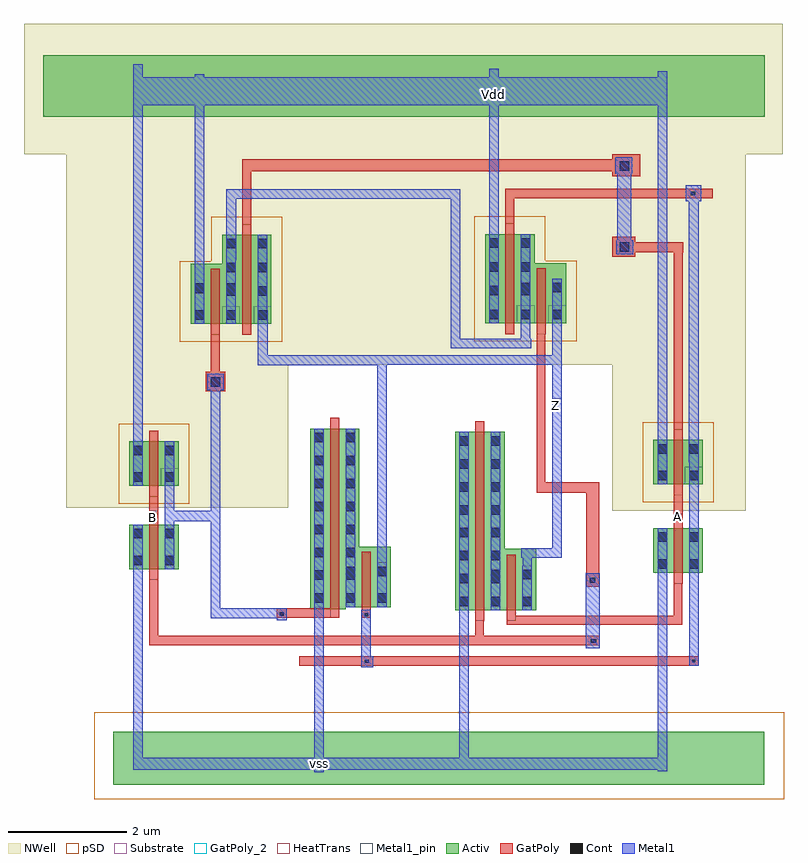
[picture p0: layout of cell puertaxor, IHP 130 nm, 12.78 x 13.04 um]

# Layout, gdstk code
import gdstk
lib = gdstk.Library(unit=1e-6, precision=5e-09)
def R(c, l, rs):  # rectangles x0, y0, x1, y1
    for r in rs: c.add(gdstk.rectangle(r[:2], r[2:], *l))
def A(c, l, x, y, w, h, nx, ny, dx, dy):  # array of equal rectangles
    R(c, l, [(x+i*dx, y+j*dy, x+i*dx+w, y+j*dy+h) for i in range(nx) for j in range(ny)])
Activ = (1, 0)
GatPoly = (5, 0)
GatPoly_2 = (5, 2)
Cont = (6, 0)
Metal1 = (8, 0)
Metal1_pin = (8, 2)
pSD = (14, 0)
NWell = (31, 0)
Substrate = (40, 0)
HeatTrans = (51, 0)

pmos_2 = lib.new_cell('pmos$2')
R(pmos_2, Activ, [(0,0,0.3,0.3), (0,0,0.83,0.75), (0.53,0,0.83,0.3)])
R(pmos_2, GatPoly, [(0.34,-0.18,0.49,0.93), (0.34,-0.18,0.49,0.93)])
R(pmos_2, Cont, [(0.07,0.07,0.23,0.23), (0.6,0.07,0.76,0.23), (0.07,0.52,0.23,0.68), (0.6,0.52,0.76,0.68)])
R(pmos_2, Metal1, [(0.07,0,0.23,0.75), (0.07,0,0.23,0.75), (0.6,0,0.76,0.75), (0.6,0,0.76,0.75)])
R(pmos_2, pSD, [(-0.18,-0.3,1.01,1.05)])
R(pmos_2, NWell, [(-0.31,-0.31,1.14,1.06)])
R(pmos_2, Substrate, [(0.53,0,0.83,0.3)])
R(pmos_2, HeatTrans, [(0.34,-0.18,0.49,0.93)])
pmos_2.add(gdstk.Label('pmos', (0.415,0.375), layer=63, texttype=0))
pmos_2.add(gdstk.Label('pmos', (0.415,0.375), layer=51, texttype=0))

pmos_1 = lib.new_cell('pmos$1')
R(pmos_1, Activ, [(0,0,0.3,0.3), (0,0,0.83,1.5), (0.53,0,0.83,0.3)])
R(pmos_1, GatPoly, [(0.34,-0.18,0.49,1.68), (0.34,-0.18,0.49,1.68)])
A(pmos_1, Cont, 0.07, 0.07, 0.16, 0.16, 1, 4, 0, 0.4)
A(pmos_1, Cont, 0.6, 0.07, 0.16, 0.16, 1, 4, 0, 0.4)
R(pmos_1, Metal1, [(0.07,0,0.23,1.5), (0.07,0,0.23,1.5), (0.6,0,0.76,1.5), (0.6,0,0.76,1.5)])
R(pmos_1, pSD, [(-0.18,-0.3,1.01,1.8)])
R(pmos_1, NWell, [(-0.31,-0.31,1.14,1.81)])
R(pmos_1, Substrate, [(0.53,0,0.83,0.3)])
R(pmos_1, HeatTrans, [(0.34,-0.18,0.49,1.68)])
pmos_1.add(gdstk.Label('pmos', (0.415,0.75), layer=63, texttype=0))
pmos_1.add(gdstk.Label('pmos', (0.415,0.75), layer=51, texttype=0))

nmos_2 = lib.new_cell('nmos$2')
R(nmos_2, Activ, [(0,0,0.3,0.3), (0,0,0.83,0.75), (0.53,0,0.83,0.3)])
R(nmos_2, GatPoly, [(0.34,-0.18,0.49,0.93)])
R(nmos_2, GatPoly_2, [(0.34,-0.18,0.49,0.93)])
R(nmos_2, Cont, [(0.07,0.07,0.23,0.23), (0.6,0.07,0.76,0.23), (0.07,0.52,0.23,0.68), (0.6,0.52,0.76,0.68)])
R(nmos_2, Metal1, [(0.07,0,0.23,0.75), (0.6,0,0.76,0.75)])
R(nmos_2, Metal1_pin, [(0.07,0,0.23,0.75), (0.6,0,0.76,0.75)])
R(nmos_2, HeatTrans, [(0.34,-0.18,0.49,0.93)])
nmos_2.add(gdstk.Label('nmos', (0.415,0.375), layer=63, texttype=0))
nmos_2.add(gdstk.Label('nmos', (0.415,0.375), layer=51, texttype=0))

nmos_1 = lib.new_cell('nmos$1')
R(nmos_1, Activ, [(0,0,0.3,0.3), (0,0,0.83,3), (0.53,0,0.83,0.3)])
R(nmos_1, GatPoly, [(0.34,-0.18,0.49,3.18)])
R(nmos_1, GatPoly_2, [(0.34,-0.18,0.49,3.18)])
A(nmos_1, Cont, 0.07, 0.07, 0.16, 0.16, 1, 7, 0, 0.385)
A(nmos_1, Cont, 0.6, 0.07, 0.16, 0.16, 1, 7, 0, 0.385)
R(nmos_1, Cont, [(0.07,2.77,0.23,2.93), (0.6,2.77,0.76,2.93)])
R(nmos_1, Metal1, [(0.07,0,0.23,3), (0.6,0,0.76,3)])
R(nmos_1, Metal1_pin, [(0.07,0,0.23,3), (0.6,0,0.76,3)])
R(nmos_1, HeatTrans, [(0.34,-0.18,0.49,3.18)])
nmos_1.add(gdstk.Label('nmos', (0.415,1.5), layer=63, texttype=0))
nmos_1.add(gdstk.Label('nmos', (0.415,1.5), layer=51, texttype=0))

puertaxor = lib.new_cell('puertaxor')
R(puertaxor, Activ, [(1.23,-3.525,12.175,-2.63), (4.54,-0.57,5.14,-0.535), (7.81,0.16,8.34,0.445), (5.37,0.215,5.9,0.48), (2.53,4.975,3.06,5.24), (8.315,4.985,8.845,5.245), (0.055,7.705,12.19,8.745)])
R(puertaxor, GatPoly, [(4.36,-1.52,11.075,-1.36), (1.84,-1.175,1.99,-0.035), (1.85,-1.175,8,-1.015), (7.32,-1.175,7.465,-0.52), (7.615,-1.175,9.415,-1.015), (7.85,-0.83,10.8,-0.68), (10.655,-0.77,10.8,-0.14), (3.98,-0.715,5.03,-0.56), (9.185,-0.195,9.405,1.56), (10.655,0.43,10.805,1.595), (1.84,0.6,1.99,1.425), (8.355,1.385,8.495,4.195), (8.355,1.385,9.4,1.56), (10.66,2.29,10.805,5.6), (2.785,3.09,3.11,3.42), (2.87,3.17,3.02,4.155), (9.625,5.355,10.005,5.695), (9.71,5.43,9.885,5.6), (9.84,5.43,10.82,5.6), (3.4,5.505,3.55,6.995), (7.825,5.555,7.975,6.5), (7.825,6.335,11.31,6.5), (9.625,6.71,10.09,7.08), (3.4,6.79,10,6.995), (9.845,6.79,10.09,6.995)])
R(puertaxor, GatPoly_2, [(1.84,0.91,1.99,1.08), (10.655,0.915,10.805,1.03)])
R(puertaxor, Cont, [(4.665,-3.21,4.725,-3.14), (5.46,-1.475,5.525,-1.425), (10.965,-1.465,11.02,-1.425), (9.26,-1.14,9.355,-1.075), (5.46,-0.69,5.515,-0.64), (4.03,-0.68,4.1,-0.62), (9.245,-0.13,9.34,-0.045), (2.87,3.165,3.03,3.325), (9.75,5.435,9.91,5.595), (10.945,6.385,11.02,6.445), (9.745,6.8,9.905,6.96), (7.555,7.995,7.715,8.155)])
R(puertaxor, Metal1, [(4.61,-3.31,4.77,-0.25), (10.385,-3.3,10.545,0.19), (1.57,-3.275,1.73,0.355), (1.57,-3.275,10.545,-3.07), (7.05,-3.235,7.21,-0.3), (5.405,-1.55,5.6,-1.52), (5.405,-1.52,5.565,-0.605), (5.565,-1.52,5.6,-1.36), (10.915,-1.52,11.075,0.105), (9.18,-1.23,9.415,-1.175), (9.18,-1.175,9.415,0.03), (3.98,-0.755,4.15,-0.715), (2.87,-0.72,3.03,1.07), (2.87,-0.72,4.15,-0.56), (5.405,-0.605,5.565,-0.58), (8.115,-0.06,8.27,0.45), (5.67,0,5.83,3.7), (8.09,0.29,8.775,0.45), (8.615,0.29,8.775,2.955), (2.1,0.555,2.26,1.735), (10.915,0.62,11.075,1.75), (2.1,0.905,3.03,1.08), (2.87,0.905,3.03,3.31), (1.57,1.875,1.73,8.595), (10.385,1.9,10.545,8.475), (10.91,1.9,11.075,6.5), (8.615,2.68,8.775,4.385), (2.815,3.11,3.09,3.385), (2.87,3.31,3.03,3.34), (3.66,3.53,3.825,4.455), (3.665,3.53,5.83,3.7), (5.665,3.535,8.775,3.7), (6.905,3.815,7.07,6.49), (6.905,3.815,8.26,3.975), (8.085,3.815,8.24,4.46), (2.6,4.6,2.76,8.425), (7.555,4.985,7.715,8.52), (3.13,5.295,3.3,6.49), (9.69,5.395,9.975,5.635), (9.71,5.43,9.94,6.995), (10.86,6.285,11.115,6.555), (3.13,6.33,7.025,6.49), (9.675,6.75,9.96,7.025), (1.585,7.905,10.545,8.37)])
R(puertaxor, Metal1_pin, [(4.665,-3.21,4.725,-3.14), (8.615,2.795,8.775,2.975), (7.595,8.04,7.68,8.125)])
R(puertaxor, pSD, [(0.91,-3.765,12.51,-2.305)])
R(puertaxor, NWell, [(9.625,1.08,11.87,8.605), (0.44,1.13,4.175,8.37), (3.395,3.535,9.975,8.745), (-0.27,7.08,12.49,9.27)])
puertaxor.add(gdstk.Reference(pmos_2, (8.015,4.235)))
puertaxor.add(gdstk.Reference(pmos_1, (7.485,4.235)))
puertaxor.add(gdstk.Reference(nmos_2, (5.07,-0.535)))
puertaxor.add(gdstk.Reference(nmos_1, (6.98,-0.59)))
puertaxor.add(gdstk.Reference(nmos_2, (7.51,-0.59)))
puertaxor.add(gdstk.Reference(nmos_1, (4.54,-0.535)))
puertaxor.add(gdstk.Reference(pmos_2, (1.5,1.5)))
puertaxor.add(gdstk.Reference(pmos_2, (10.315,1.525)))
puertaxor.add(gdstk.Reference(nmos_2, (1.5,0.1)))
puertaxor.add(gdstk.Reference(nmos_2, (10.315,0.04)))
puertaxor.add(gdstk.Reference(pmos_1, (3.06,4.225)))
puertaxor.add(gdstk.Reference(pmos_2, (2.53,4.225)))
puertaxor.add(gdstk.Label('Z', (8.665,2.86), layer=8, texttype=2))
puertaxor.add(gdstk.Label('vss', (4.695,-3.175), layer=8, texttype=2))
puertaxor.add(gdstk.Label('A', (10.715,0.985), layer=5, texttype=2))
puertaxor.add(gdstk.Label('B', (1.89,0.975), layer=5, texttype=2))
puertaxor.add(gdstk.Label('Vdd', (7.625,8.08), layer=6, texttype=0))

lib.write_gds('puertaxor.gds')
